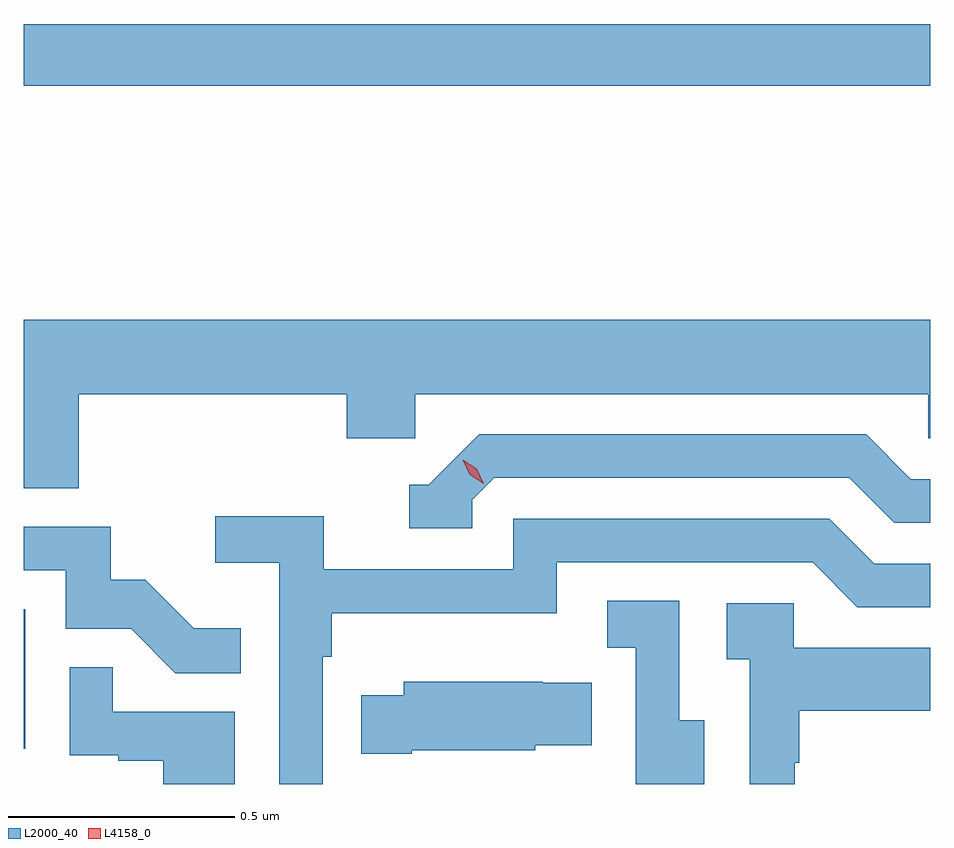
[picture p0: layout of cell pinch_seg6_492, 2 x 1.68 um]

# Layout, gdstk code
import gdstk
lib = gdstk.Library(unit=1e-6, precision=1e-09)
def R(c, l, rs):  # rectangles x0, y0, x1, y1
    for r in rs: c.add(gdstk.rectangle(r[:2], r[2:], *l))
def P(c, l, *ps):  # polygons
    for p in ps: c.add(gdstk.Polygon(p, *l))
L2000_40 = (2000, 40)
L4158_0 = (4158, 0)

pinch_seg6_492 = lib.new_cell('pinch_seg6_492')
R(pinch_seg6_492, L2000_40, [(832.812,926.574,832.816,926.881), (832.812,928.036,834.812,928.172)])
P(pinch_seg6_492, L2000_40, [(832.934,927.356),(833.525,927.356),(833.525,927.258),(833.676,927.258),(833.676,927.356),(834.807,927.356),(834.807,927.258),(834.812,927.258),(834.812,927.52),(832.812,927.52),(832.812,927.148),(832.934,927.148)],
  [(833.802,927.123),(833.85,927.171),(834.633,927.171),(834.732,927.072),(834.812,927.072),(834.812,927.168),(834.769,927.168),(834.67,927.267),(833.817,927.267),(833.706,927.156),(833.663,927.156),(833.663,927.06),(833.802,927.06)],
  [(833.472,926.777),(833.492,926.777),(833.492,926.873),(833.988,926.873),(833.988,926.985),(834.552,926.985),(834.651,926.886),(834.812,926.886),(834.812,926.982),(834.688,926.982),(834.589,927.081),(833.892,927.081),(833.892,926.97),(833.474,926.97),(833.474,927.086),(833.235,927.086),(833.235,926.984),(833.376,926.984),(833.376,926.496),(833.472,926.496)],
  [(833.291,926.839),(833.187,926.839),(833.08,926.946),(833.004,926.946),(833.004,927.063),(832.812,927.063),(832.812,926.967),(832.905,926.967),(832.905,926.838),(833.049,926.838),(833.147,926.74),(833.291,926.74)],
  [(834.313,926.637),(834.258,926.637),(834.258,926.9),(834.099,926.9),(834.099,926.797),(834.162,926.797),(834.162,926.496),(834.313,926.496)],
  [(834.513,926.543),(834.523,926.543),(834.523,926.657),(834.812,926.657),(834.812,926.797),(834.51,926.797),(834.51,926.895),(834.363,926.895),(834.363,926.771),(834.414,926.771),(834.414,926.496),(834.513,926.496)],
  [(833.278,926.655),(833.009,926.655),(833.009,926.753),(832.914,926.753),(832.914,926.559),(833.021,926.559),(833.021,926.547),(833.12,926.547),(833.12,926.496),(833.278,926.496)],
  [(833.668,926.57),(833.94,926.57),(833.94,926.582),(834.065,926.582),(834.065,926.719),(833.957,926.719),(833.957,926.722),(833.651,926.722),(833.651,926.692),(833.557,926.692),(833.557,926.563),(833.668,926.563)])
P(pinch_seg6_492, L4158_0, [(833.827,927.158),(833.796,927.178),(833.781,927.211),(833.781,927.211),(833.781,927.211),(833.811,927.191),(833.827,927.158),(833.827,927.158)])

lib.write_gds('pinch_seg6_492.gds')
